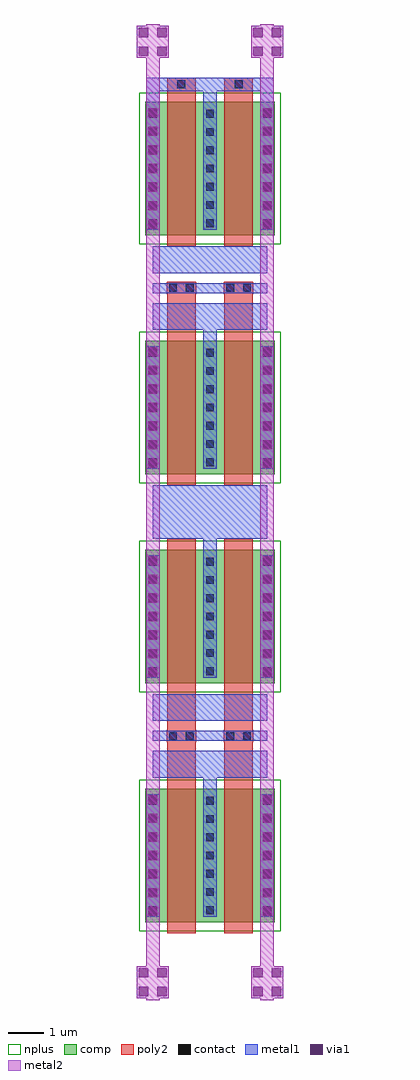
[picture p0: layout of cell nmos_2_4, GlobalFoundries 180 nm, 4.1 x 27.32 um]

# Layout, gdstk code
import gdstk
lib = gdstk.Library(unit=1e-6, precision=5e-09)
def R(c, l, rs):  # rectangles x0, y0, x1, y1
    for r in rs: c.add(gdstk.rectangle(r[:2], r[2:], *l))
def A(c, l, x, y, w, h, nx, ny, dx, dy):  # array of equal rectangles
    R(c, l, [(x+i*dx, y+j*dy, x+i*dx+w, y+j*dy+h) for i in range(nx) for j in range(ny)])
comp = (22, 0)
poly2 = (30, 0)
nplus = (32, 0)
contact = (33, 0)
metal1 = (34, 0)
via1 = (35, 0)
metal2 = (36, 0)

nfet_2 = lib.new_cell('nfet$2')
R(nfet_2, comp, [(-0.42,0,0,3.75), (0,0,1.18,3.75), (1.18,0,1.6,3.75)])
R(nfet_2, poly2, [(0.19,-0.3,0.99,4.05), (0.19,4.05,0.99,4.41)])
R(nfet_2, nplus, [(-0.59,-0.24,1.77,3.99)])
A(nfet_2, contact, -0.32, 0.235, 0.22, 0.22, 1, 7, 0, 0.51)
A(nfet_2, contact, 1.28, 0.235, 0.22, 0.22, 1, 7, 0, 0.51)
R(nfet_2, contact, [(0.48,4.12,0.7,4.34)])
R(nfet_2, metal1, [(-0.4,0.155,-0.02,3.595), (1.2,0.155,1.58,3.595), (0.4,4.04,0.78,4.42)])

nmos_1_2 = lib.new_cell('nmos_1$2')
R(nmos_1_2, comp, [(0.08,0.305,0.5,4.055), (0.08,0.305,0.5,4.055), (0.5,0.305,1.68,4.055), (0.5,0.305,1.68,4.055), (1.68,0.305,2.1,4.055), (1.68,0.305,2.1,4.055)])
R(nmos_1_2, poly2, [(0.69,0.005,1.49,4.355), (0.69,0.005,1.49,4.355)])
R(nmos_1_2, nplus, [(-0.09,0.065,2.27,4.295), (-0.09,0.065,2.27,4.295)])
R(nmos_1_2, contact, [(0.18,0.54,0.4,0.76), (0.18,0.54,0.4,0.76), (1.78,0.54,2,0.76), (1.78,0.54,2,0.76), (0.18,1.05,0.4,1.27), (0.18,1.05,0.4,1.27), (1.78,1.05,2,1.27), (1.78,1.05,2,1.27), (0.18,1.56,0.4,1.78), (0.18,1.56,0.4,1.78), (1.78,1.56,2,1.78), (1.78,1.56,2,1.78), (0.18,2.07,0.4,2.29), (0.18,2.07,0.4,2.29), (1.78,2.07,2,2.29), (1.78,2.07,2,2.29), (0.18,2.58,0.4,2.8), (0.18,2.58,0.4,2.8), (1.78,2.58,2,2.8), (1.78,2.58,2,2.8), (0.18,3.09,0.4,3.31), (0.18,3.09,0.4,3.31), (1.78,3.09,2,3.31), (1.78,3.09,2,3.31), (0.18,3.6,0.4,3.82), (0.18,3.6,0.4,3.82), (1.78,3.6,2,3.82), (1.78,3.6,2,3.82)])
R(nmos_1_2, metal1, [(0.1,0.46,0.48,3.9), (0.1,0.46,0.48,3.9), (1.7,0.46,2.08,3.9), (1.7,0.46,2.08,3.9)])

nmos_2_4 = lib.new_cell('nmos_2_4')
R(nmos_2_4, poly2, [(0.1,-13.865,0.9,-11.525), (1.7,-13.865,2.5,-11.525), (0.085,-12.85,0.915,-12.54), (1.685,-12.85,2.515,-12.54), (0.1,-1.325,0.9,0.025), (1.7,-1.325,2.5,0.025), (0.085,-0.31,0.915,0), (1.685,-0.31,2.515,0)])
R(nmos_2_4, contact, [(0.155,-12.805,0.375,-12.585), (0.625,-12.805,0.845,-12.585), (1.755,-12.805,1.975,-12.585), (2.225,-12.805,2.445,-12.585), (0.155,-0.265,0.375,-0.045), (0.625,-0.265,0.845,-0.045), (1.755,-0.265,1.975,-0.045), (2.225,-0.265,2.445,-0.045)])
A(nmos_2_4, via1, -0.43, -17.73, 0.26, 0.26, 1, 7, 0, 0.52)
A(nmos_2_4, via1, 2.77, -17.73, 0.26, 0.26, 1, 7, 0, 0.52)
A(nmos_2_4, via1, -0.43, -11.04, 0.26, 0.26, 1, 7, 0, 0.52)
A(nmos_2_4, via1, 2.77, -11.04, 0.26, 0.26, 1, 7, 0, 0.52)
A(nmos_2_4, via1, -0.43, -5.19, 0.26, 0.26, 1, 7, 0, 0.52)
A(nmos_2_4, via1, 2.77, -5.19, 0.26, 0.26, 1, 7, 0, 0.52)
A(nmos_2_4, via1, -0.43, 1.5, 0.26, 0.26, 1, 7, 0, 0.52)
A(nmos_2_4, via1, 2.77, 1.5, 0.26, 0.26, 1, 7, 0, 0.52)
R(nmos_2_4, via1, [(-0.69,-19.975,-0.43,-19.715), (-0.17,-19.975,0.09,-19.715), (2.51,-19.975,2.77,-19.715), (3.03,-19.975,3.29,-19.715), (-0.69,-19.455,-0.43,-19.195), (-0.17,-19.455,0.09,-19.195), (2.51,-19.455,2.77,-19.195), (3.03,-19.455,3.29,-19.195), (-0.69,6.345,-0.43,6.605), (-0.17,6.345,0.09,6.605), (2.51,6.345,2.77,6.605), (3.03,6.345,3.29,6.605), (-0.69,6.865,-0.43,7.125), (-0.17,6.865,0.09,7.125), (2.51,6.865,2.77,7.125), (3.03,6.865,3.29,7.125)])
R(nmos_2_4, metal2, [(-0.75,-20.035,0.15,-19.135), (2.45,-20.035,3.35,-19.135), (-0.75,6.285,0.15,7.185), (2.45,6.285,3.35,7.185)])
nmos_2_4.add(gdstk.FlexPath([(1.3,-7.175),(1.3,-7.63)], 0.38, ends="flush", simple_path=True, layer=34, datatype=0))  # metal1
nmos_2_4.add(gdstk.FlexPath([(1.3,-14.32),(1.3,-13.865)], 0.38, ends="flush", simple_path=True, layer=34, datatype=0))  # metal1
nmos_2_4.add(gdstk.FlexPath([(-0.3,-12.695),(2.9,-12.695)], 0.28, ends="flush", simple_path=True, layer=34, datatype=0))  # metal1
nmos_2_4.add(gdstk.FlexPath([(1.3,-1.78),(1.3,-1.325)], 0.38, ends="flush", simple_path=True, layer=34, datatype=0))  # metal1
nmos_2_4.add(gdstk.FlexPath([(1.3,4.91),(1.3,5.545),(2.9,5.545),(2.9,4.91)], 0.38, ends="flush", simple_path=True, layer=34, datatype=0))  # metal1
nmos_2_4.add(gdstk.FlexPath([(-0.3,4.91),(-0.3,5.545),(1.3,5.545),(1.3,4.91)], 0.38, ends="flush", simple_path=True, layer=34, datatype=0))  # metal1
nmos_2_4.add(gdstk.FlexPath([(-0.3,0.64),(2.9,0.64)], 0.75, ends="flush", simple_path=True, layer=34, datatype=0))  # metal1
nmos_2_4.add(gdstk.FlexPath([(-0.3,-0.155),(2.9,-0.155)], 0.28, ends="flush", simple_path=True, layer=34, datatype=0))  # metal1
nmos_2_4.add(gdstk.FlexPath([(-0.3,-0.95),(2.9,-0.95)], 0.75, ends="flush", simple_path=True, layer=34, datatype=0))  # metal1
nmos_2_4.add(gdstk.FlexPath([(-0.3,-6.425),(2.9,-6.425)], 1.5, ends="flush", simple_path=True, layer=34, datatype=0))  # metal1
nmos_2_4.add(gdstk.FlexPath([(-0.3,-13.49),(2.9,-13.49)], 0.75, ends="flush", simple_path=True, layer=34, datatype=0))  # metal1
nmos_2_4.add(gdstk.FlexPath([(-0.3,-11.9),(2.9,-11.9)], 0.75, ends="flush", simple_path=True, layer=34, datatype=0))  # metal1
nmos_2_4.add(gdstk.FlexPath([(2.9,-20.085),(2.9,7.235)], 0.38, ends="flush", simple_path=True, layer=36, datatype=0))  # metal2
nmos_2_4.add(gdstk.FlexPath([(-0.3,-20.085),(-0.3,7.235)], 0.38, ends="flush", simple_path=True, layer=36, datatype=0))  # metal2
nmos_2_4.add(gdstk.Reference(nfet_2, (1.51,1.315)))
nmos_2_4.add(gdstk.Reference(nmos_1_2, (1.01,-5.68)))
nmos_2_4.add(gdstk.Reference(nmos_1_2, (-0.59,-5.68)))
nmos_2_4.add(gdstk.Reference(nmos_1_2, (-0.59,-11.53)))
nmos_2_4.add(gdstk.Reference(nmos_1_2, (1.01,-11.53)))
nmos_2_4.add(gdstk.Reference(nmos_1_2, (1.01,-18.22)))
nmos_2_4.add(gdstk.Reference(nmos_1_2, (-0.59,-18.22)))
nmos_2_4.add(gdstk.Reference(nfet_2, (-0.09,1.315)))

lib.write_gds('nmos_2_4.gds')
